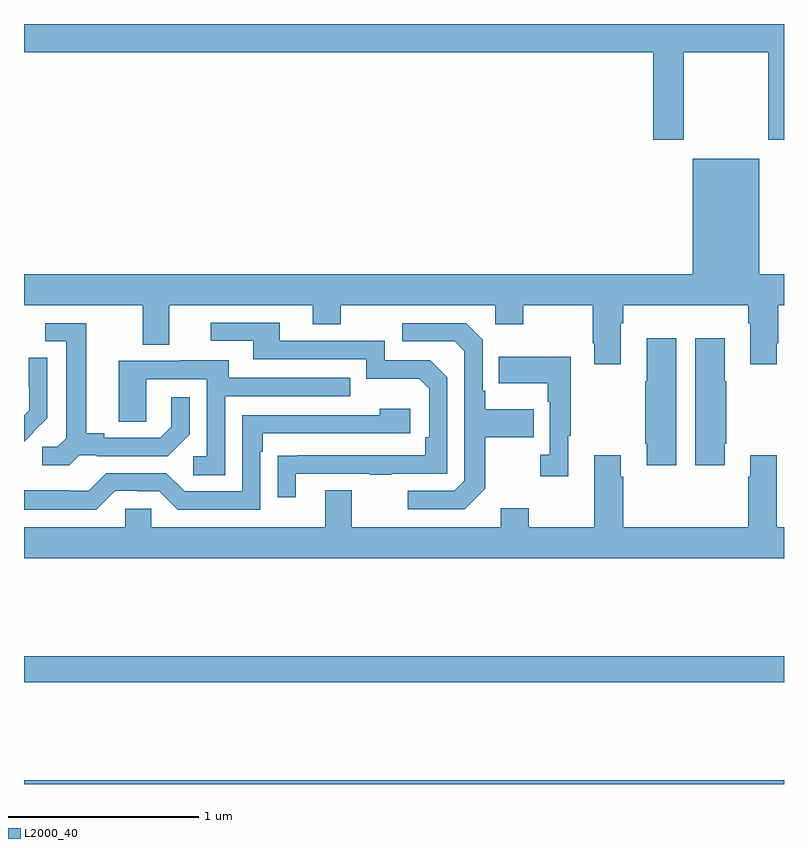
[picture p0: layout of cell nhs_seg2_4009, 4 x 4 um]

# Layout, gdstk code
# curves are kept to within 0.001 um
import gdstk
lib = gdstk.Library(unit=1e-6, precision=1e-09)
def R(c, l, rs):  # rectangles x0, y0, x1, y1
    for r in rs: c.add(gdstk.rectangle(r[:2], r[2:], *l))
def P(c, l, *ps):  # polygons
    for p in ps: c.add(gdstk.Polygon(p, *l))
L2000_40 = (2000, 40)

nhs_seg2_4009 = lib.new_cell('nhs_seg2_4009')
R(nhs_seg2_4009, L2000_40, [(325,627.8,329,627.82), (325,628.336,329,628.472)])
P(nhs_seg2_4009, L2000_40, [(328.473,631.652),(328.918,631.652),(328.918,631.191),(329,631.191),(329,631.8),(325,631.8),(325,631.652),(328.313,631.652),(328.313,631.191),(328.473,631.191)],
  [(328.141,630.224),(328.154,630.224),(328.154,630.32),(328.811,630.32),(328.811,630.224),(328.823,630.224),(328.823,630.009),(328.963,630.009),(328.963,630.121),(328.971,630.121),(328.971,630.32),(329,630.32),(329,630.484),(328.87,630.484),(328.87,631.09),(328.52,631.09),(328.52,630.484),(325,630.484),(325,630.32),(325.625,630.32),(325.625,630.112),(325.765,630.112),(325.765,630.32),(326.519,630.32),(326.519,630.221),(326.667,630.221),(326.667,630.32),(327.48,630.32),(327.48,630.221),(327.627,630.221),(327.627,630.32),(327.994,630.32),(327.994,630.121),(328.001,630.121),(328.001,630.009),(328.141,630.009)],
  [(326.431,629.433),(326.821,629.433),(326.821,629.428),(326.933,629.428),(326.933,629.433),(327.228,629.433),(327.228,629.94),(327.138,630.03),(326.898,630.03),(326.898,630.132),(326.347,630.132),(326.347,630.228),(325.983,630.228),(325.983,630.132),(326.207,630.132),(326.207,630.036),(326.802,630.036),(326.802,629.933),(327.079,629.933),(327.132,629.88),(327.132,629.626),(327.112,629.626),(327.112,629.529),(326.335,629.528),(326.335,629.31),(326.431,629.31)],
  [(327.427,629.353),(327.427,629.626),(327.683,629.626),(327.683,629.773),(327.427,629.773),(327.427,629.869),(327.414,629.869),(327.414,630.138),(327.327,630.225),(326.991,630.225),(326.991,630.129),(327.267,630.129),(327.318,630.078),(327.318,629.397),(327.264,629.343),(327.021,629.343),(327.021,629.247),(327.321,629.247)],
  [(325.29,629.529),(325.384,629.529),(325.384,629.526),(325.756,629.526),(325.872,629.642),(325.872,629.836),(325.775,629.836),(325.775,629.679),(325.718,629.622),(325.423,629.622),(325.423,629.645),(325.327,629.645),(325.327,630.225),(325.113,630.225),(325.113,630.129),(325.223,630.129),(325.223,629.621),(325.176,629.574),(325.095,629.574),(325.095,629.477),(325.238,629.477)],
  [(328.432,630.145),(328.277,630.145),(328.277,629.921),(328.27,629.921),(328.27,629.59),(328.277,629.59),(328.277,629.478),(328.432,629.478)],
  [(328.687,629.59),(328.695,629.59),(328.695,629.921),(328.687,629.921),(328.687,630.145),(328.532,630.145),(328.532,629.478),(328.687,629.478)],
  [(327.865,629.633),(327.877,629.633),(327.877,630.049),(327.499,630.049),(327.499,629.909),(327.756,629.909),(327.756,629.813),(327.768,629.813),(327.768,629.534),(327.717,629.534),(327.717,629.421),(327.865,629.421)],
  [(325.05,629.652),(325.049,629.653),(325.122,629.726),(325.122,630.044),(325.026,630.044),(325.026,629.89),(325.028,629.89),(325.028,629.768),(325,629.74),(325,629.602)],
  [(326.058,629.841),(326.717,629.841),(326.717,629.937),(326.077,629.937),(326.077,630.031),(325.823,630.031),(325.823,630.027),(325.499,630.027),(325.499,629.707),(325.644,629.707),(325.644,629.931),(325.962,629.931),(325.962,629.526),(325.89,629.526),(325.89,629.425),(326.058,629.425)],
  [(325.479,629.343),(325.595,629.343),(325.595,629.34),(325.713,629.34),(325.809,629.244),(326.244,629.244),(326.244,629.549),(326.257,629.549),(326.257,629.646),(327.034,629.646),(327.034,629.776),(326.873,629.776),(326.873,629.742),(326.148,629.742),(326.148,629.34),(325.845,629.34),(325.749,629.436),(325.434,629.436),(325.341,629.343),(325.241,629.343),(325.241,629.347),(325,629.347),(325,629.243),(325.379,629.243)],
  [(325.533,629.25),(325.533,629.152),(325,629.152),(325,628.988),(329,628.988),(329,629.152),(328.963,629.152),(328.963,629.53),(328.823,629.53),(328.823,629.417),(328.811,629.417),(328.811,629.152),(328.154,629.152),(328.154,629.417),(328.141,629.417),(328.141,629.53),(328.001,629.53),(328.001,629.152),(327.657,629.152),(327.657,629.251),(327.509,629.251),(327.509,629.152),(326.725,629.152),(326.725,629.347),(326.585,629.347),(326.585,629.152),(325.671,629.152),(325.671,629.25)])

lib.write_gds('nhs_seg2_4009.gds')
